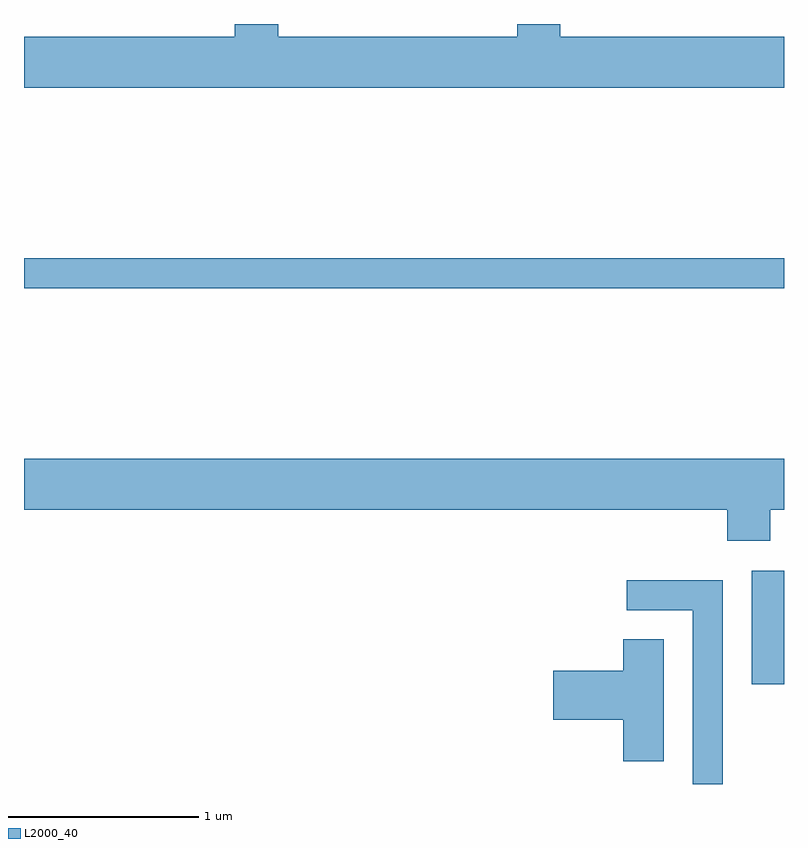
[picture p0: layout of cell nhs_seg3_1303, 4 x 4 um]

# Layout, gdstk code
import gdstk
lib = gdstk.Library(unit=1e-6, precision=1e-09)
def R(c, l, rs):  # rectangles x0, y0, x1, y1
    for r in rs: c.add(gdstk.rectangle(r[:2], r[2:], *l))
def P(c, l, *ps):  # polygons
    for p in ps: c.add(gdstk.Polygon(p, *l))
L2000_40 = (2000, 40)

nhs_seg3_1303 = lib.new_cell('nhs_seg3_1303')
R(nhs_seg3_1303, L2000_40, [(227.441,1138.416,227.611,1139.014), (223.611,1140.501,227.611,1140.659)])
P(nhs_seg3_1303, L2000_40, [(227.611,1141.824),(226.434,1141.824),(226.434,1141.892),(226.206,1141.892),(226.206,1141.824),(224.949,1141.824),(224.949,1141.892),(224.721,1141.892),(224.721,1141.824),(223.611,1141.824),(223.611,1141.556),(227.611,1141.556)],
  [(227.539,1139.336),(227.611,1139.336),(227.611,1139.604),(223.611,1139.604),(223.611,1139.336),(227.311,1139.336),(227.311,1139.171),(227.539,1139.171)],
  [(227.289,1138.964),(226.783,1138.964),(226.783,1138.806),(227.131,1138.806),(227.131,1137.892),(227.289,1137.892)],
  [(226.979,1138.654),(226.766,1138.654),(226.766,1138.489),(226.396,1138.489),(226.396,1138.231),(226.766,1138.231),(226.766,1138.011),(226.979,1138.011)])

lib.write_gds('nhs_seg3_1303.gds')
